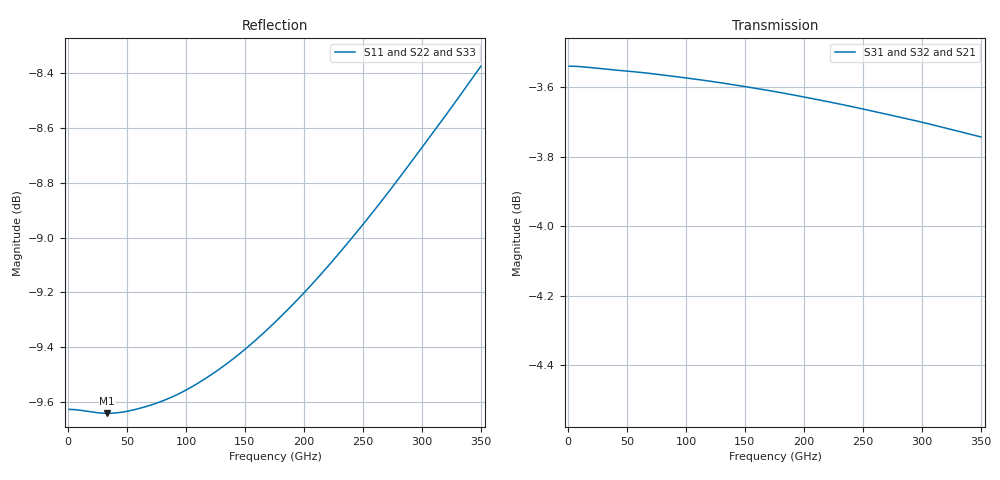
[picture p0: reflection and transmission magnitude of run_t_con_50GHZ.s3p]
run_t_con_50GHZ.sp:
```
* EQUIVALENT CIRCUIT FOR VECTOR FITTED S-MATRIX
* Created using scikit-rf vectorFitting.py
*
.SUBCKT s_equivalent_1 p1 p2 p3
*
* Port network for port 1
V1 p1 s1 0
R1 s1 0 50.0
Gd1_1 0 s1 p1 0 1.252159491849092e-06
Fd1_1 0 s1 V1 6.260797459245461e-05
Gr1_re_1_1 0 s1 x1_re_a1 0 992321637841.9834
Gr1_im_1_1 0 s1 x1_im_a1 0 2081723191810.322
Gr2_1_1 0 s1 x2_a1 0 31931065058.0284
Gr3_1_1 0 s1 x3_a1 0 26696149.77524791
Gr4_1_1 0 s1 x4_a1 0 -4424836184.122385
Gd1_2 0 s1 p2 0 -6.245592515696785e-07
Fd1_2 0 s1 V2 -3.1227962578483925e-05
Gr1_re_1_2 0 s1 x1_re_a2 0 -132118566386.80286
Gr1_im_1_2 0 s1 x1_im_a2 0 -1407465757793.0315
Gr2_1_2 0 s1 x2_a2 0 65790489213.10337
Gr3_1_2 0 s1 x3_a2 0 -11103650.452407794
Gr4_1_2 0 s1 x4_a2 0 2336915043.823303
Gd1_3 0 s1 p3 0 -8.287572210408101e-07
Fd1_3 0 s1 V3 -4.143786105204051e-05
Gr1_re_1_3 0 s1 x1_re_a3 0 91061486096.70384
Gr1_im_1_3 0 s1 x1_im_a3 0 -1366526533444.829
Gr2_1_3 0 s1 x2_a3 0 -97199529707.57573
Gr3_1_3 0 s1 x3_a3 0 -41828064.97162587
Gr4_1_3 0 s1 x4_a3 0 2498264859.301965
*
* State networks driven by port 1
Cx1_re_a1 x1_re_a1 0 1.0
Gx1_re_a1 0 x1_re_a1 p1 0 0.1414213562373095
Fx1_re_a1 0 x1_re_a1 V1 7.0710678118654755
Rp1_re_re_a1 0 x1_re_a1 1.472812708330351e-13
Gp1_re_im_a1 0 x1_re_a1 x1_im_a1 0 4842390011821.618
Cx1_im_a1 x1_im_a1 0 1.0
Gp1_im_re_a1 0 x1_im_a1 x1_re_a1 0 -4842390011821.618
Rp1_im_im_a1 0 x1_im_a1 1.472812708330351e-13
Cx2_a1 x2_a1 0 1.0
Gx2_a1 0 x2_a1 p1 0 0.07071067811865475
Fx2_a1 0 x2_a1 V1 3.5355339059327378
Rp2_a1 0 x2_a1 2.3132900074484617e-13
Cx3_a1 x3_a1 0 1.0
Gx3_a1 0 x3_a1 p1 0 0.07071067811865475
Fx3_a1 0 x3_a1 V1 3.5355339059327378
Rp3_a1 0 x3_a1 5.7343873896109026e-12
Cx4_a1 x4_a1 0 1.0
Gx4_a1 0 x4_a1 p1 0 0.07071067811865475
Fx4_a1 0 x4_a1 V1 3.5355339059327378
Rp4_a1 0 x4_a1 1.1050289223907674e-12
*
* Port network for port 2
V2 p2 s2 0
R2 s2 0 50.0
Gd2_1 0 s2 p1 0 -6.227985429374527e-07
Fd2_1 0 s2 V1 -3.113992714687264e-05
Gr1_re_2_1 0 s2 x1_re_a1 0 -132215340952.91939
Gr1_im_2_1 0 s2 x1_im_a1 0 -1408980246075.243
Gr2_2_1 0 s2 x2_a1 0 64949356275.529495
Gr3_2_1 0 s2 x3_a1 0 -11221014.506834837
Gr4_2_1 0 s2 x4_a1 0 2339786554.526249
Gd2_2 0 s2 p2 0 1.254032247867132e-06
Fd2_2 0 s2 V2 6.27016123933566e-05
Gr1_re_2_2 0 s2 x1_re_a2 0 993468976807.2136
Gr1_im_2_2 0 s2 x1_im_a2 0 2082275021781.5044
Gr2_2_2 0 s2 x2_a2 0 31295864080.54669
Gr3_2_2 0 s2 x3_a2 0 26922295.703447904
Gr4_2_2 0 s2 x4_a2 0 -4425523979.209311
Gd2_3 0 s2 p3 0 -8.26934398006074e-07
Fd2_3 0 s2 V3 -4.13467199003037e-05
Gr1_re_2_3 0 s2 x1_re_a3 0 90612204239.09584
Gr1_im_2_3 0 s2 x1_im_a3 0 -1367270919142.5
Gr2_2_3 0 s2 x2_a3 0 -97270630350.73973
Gr3_2_3 0 s2 x3_a3 0 -41819532.06381788
Gr4_2_3 0 s2 x4_a3 0 2499020365.3723636
*
* State networks driven by port 2
Cx1_re_a2 x1_re_a2 0 1.0
Gx1_re_a2 0 x1_re_a2 p2 0 0.1414213562373095
Fx1_re_a2 0 x1_re_a2 V2 7.0710678118654755
Rp1_re_re_a2 0 x1_re_a2 1.472812708330351e-13
Gp1_re_im_a2 0 x1_re_a2 x1_im_a2 0 4842390011821.618
Cx1_im_a2 x1_im_a2 0 1.0
Gp1_im_re_a2 0 x1_im_a2 x1_re_a2 0 -4842390011821.618
Rp1_im_im_a2 0 x1_im_a2 1.472812708330351e-13
Cx2_a2 x2_a2 0 1.0
Gx2_a2 0 x2_a2 p2 0 0.07071067811865475
Fx2_a2 0 x2_a2 V2 3.5355339059327378
Rp2_a2 0 x2_a2 2.3132900074484617e-13
Cx3_a2 x3_a2 0 1.0
Gx3_a2 0 x3_a2 p2 0 0.07071067811865475
Fx3_a2 0 x3_a2 V2 3.5355339059327378
Rp3_a2 0 x3_a2 5.7343873896109026e-12
Cx4_a2 x4_a2 0 1.0
Gx4_a2 0 x4_a2 p2 0 0.07071067811865475
Fx4_a2 0 x4_a2 V2 3.5355339059327378
Rp4_a2 0 x4_a2 1.1050289223907674e-12
*
* Port network for port 3
V3 p3 s3 0
R3 s3 0 50.0
Gd3_1 0 s3 p1 0 -5.850489639125378e-07
Fd3_1 0 s3 V1 -2.925244819562689e-05
Gr1_re_3_1 0 s3 x1_re_a1 0 92536926822.98253
Gr1_im_3_1 0 s3 x1_im_a1 0 -1359678417204.1968
Gr2_3_1 0 s3 x2_a1 0 -94375091593.95485
Gr3_3_1 0 s3 x3_a1 0 -42702727.10445669
Gr4_3_1 0 s3 x4_a1 0 2512831531.3397083
Gd3_2 0 s3 p2 0 -5.827058523744099e-07
Fd3_2 0 s3 V2 -2.91352926187205e-05
Gr1_re_3_2 0 s3 x1_re_a2 0 91994687321.63583
Gr1_im_3_2 0 s3 x1_im_a2 0 -1359271117954.837
Gr2_3_2 0 s3 x2_a2 0 -93661293675.16116
Gr3_3_2 0 s3 x3_a2 0 -42551693.91981165
Gr4_3_2 0 s3 x4_a2 0 2510163084.773589
Gd3_3 0 s3 p3 0 1.7454513280235063e-06
Fd3_3 0 s3 V3 8.727256640117532e-05
Gr1_re_3_3 0 s3 x1_re_a3 0 769960443999.756
Gr1_im_3_3 0 s3 x1_im_a3 0 2060751911128.5803
Gr2_3_3 0 s3 x2_a3 0 206561443521.5676
Gr3_3_3 0 s3 x3_a3 0 60645607.64178932
Gr4_3_3 0 s3 x4_a3 0 -4673003947.699802
*
* State networks driven by port 3
Cx1_re_a3 x1_re_a3 0 1.0
Gx1_re_a3 0 x1_re_a3 p3 0 0.1414213562373095
Fx1_re_a3 0 x1_re_a3 V3 7.0710678118654755
Rp1_re_re_a3 0 x1_re_a3 1.472812708330351e-13
Gp1_re_im_a3 0 x1_re_a3 x1_im_a3 0 4842390011821.618
Cx1_im_a3 x1_im_a3 0 1.0
Gp1_im_re_a3 0 x1_im_a3 x1_re_a3 0 -4842390011821.618
Rp1_im_im_a3 0 x1_im_a3 1.472812708330351e-13
Cx2_a3 x2_a3 0 1.0
Gx2_a3 0 x2_a3 p3 0 0.07071067811865475
Fx2_a3 0 x2_a3 V3 3.5355339059327378
Rp2_a3 0 x2_a3 2.3132900074484617e-13
Cx3_a3 x3_a3 0 1.0
Gx3_a3 0 x3_a3 p3 0 0.07071067811865475
Fx3_a3 0 x3_a3 V3 3.5355339059327378
Rp3_a3 0 x3_a3 5.7343873896109026e-12
Cx4_a3 x4_a3 0 1.0
Gx4_a3 0 x4_a3 p3 0 0.07071067811865475
Fx4_a3 0 x4_a3 V3 3.5355339059327378
Rp4_a3 0 x4_a3 1.1050289223907674e-12
.ENDS s_equivalent_1
```
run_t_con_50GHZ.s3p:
#  Hz  S  RI  R  50
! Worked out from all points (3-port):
!   400 points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, 875 MHz to 350 GHz, reference 50 ohm
!   strongest paths, dB at 875 MHz, 88.38 GHz, 175.9 GHz, 263.4 GHz, 350 GHz:
!     S31: -3.5, -3.6, -3.6, -3.7, -3.7
!     S32: -3.5, -3.6, -3.6, -3.7, -3.7
!     S21: -3.5, -3.6, -3.7, -3.8, -3.9
!   lowest |S11| = -9.6 dB at 33.25 GHz (marker M1), VSWR 1.98, Z = 25.3 + j2.13 ohm
!   |S11| at or under -10 dB: nowhere
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8.75e8  -0.3301 0.00102  0.6647 -0.000868  0.6653 -0.000708
        0.6647 -0.000868  -0.3301 0.00102  0.6653 -0.000708
        0.6653 -0.000709  0.6653 -0.000709  -0.3307 0.000861
3.325e10  -0.3274 0.0376  0.6629 -0.0321  0.6641 -0.0263
          0.6629 -0.0321  -0.3274 0.0376  0.6641 -0.0263
          0.6641 -0.0263  0.6641 -0.0263  -0.3286 0.0318
1.0675e11  -0.3129 0.1153  0.6528 -0.1  0.6574 -0.0823
           0.6528 -0.1  -0.3128 0.1154  0.6574 -0.0824
           0.6574 -0.0823  0.6574 -0.0823  -0.3176 0.0977
1.82e11  -0.2864 0.1896  0.6338 -0.166  0.645 -0.1378
         0.6338 -0.166  -0.2864 0.1898  0.645 -0.1378
         0.6449 -0.1377  0.6449 -0.1378  -0.2978 0.1614
3.5e11  -0.1933 0.3287  0.5658 -0.2957  0.5992 -0.2521
        0.5658 -0.2957  -0.1931 0.3289  0.5991 -0.2522
        0.5991 -0.2519  0.599 -0.252  -0.2273 0.2852
